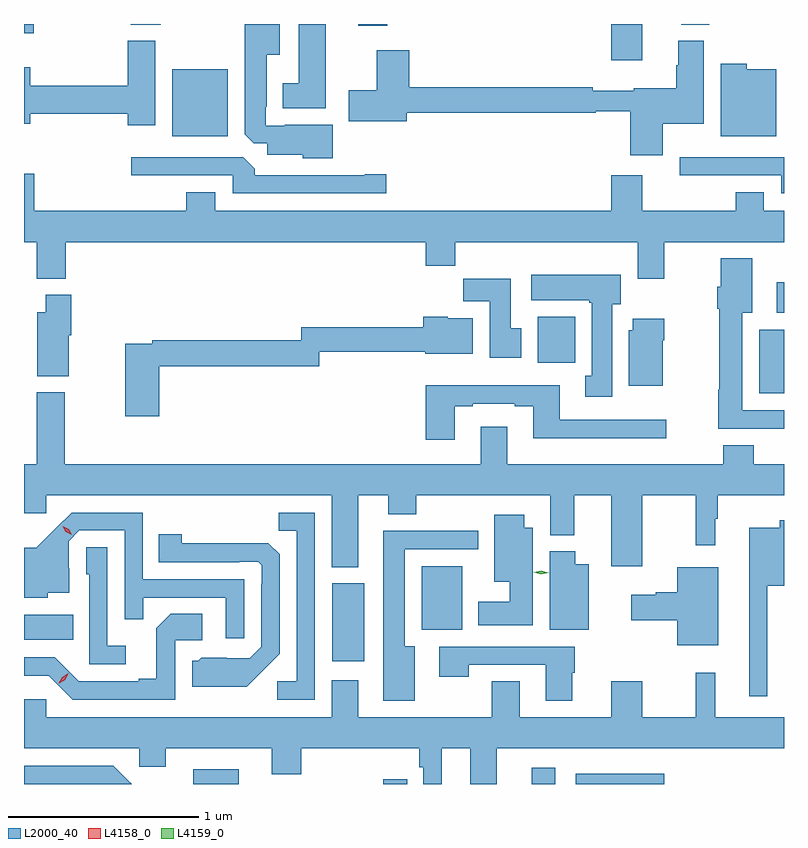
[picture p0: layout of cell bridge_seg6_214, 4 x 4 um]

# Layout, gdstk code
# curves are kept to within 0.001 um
import gdstk
lib = gdstk.Library(unit=1e-6, precision=1e-09)
def R(c, l, rs):  # rectangles x0, y0, x1, y1
    for r in rs: c.add(gdstk.rectangle(r[:2], r[2:], *l))
def P(c, l, *ps):  # polygons
    for p in ps: c.add(gdstk.Polygon(p, *l))
L2000_40 = (2000, 40)
L4158_0 = (4158, 0)
L4159_0 = (4159, 0)

bridge_seg6_214 = lib.new_cell('bridge_seg6_214')
R(bridge_seg6_214, L2000_40, [(126.846,976.452,127.084,976.53), (127.845,976.452,127.97,976.477), (128.627,976.452,128.749,976.537), (128.858,976.452,129.325,976.507), (127.577,977.097,127.744,977.509), (125.954,977.21,126.212,977.344), (128.048,977.264,128.26,977.599), (129.824,978.509,129.954,978.844), (128.657,978.668,128.854,978.91), (129.915,978.933,129.954,979.093), (126.734,979.862,127.027,980.215), (129.044,980.262,129.208,980.452), (125.954,980.403,126.004,980.452), (127.712,980.442,127.865,980.452), (126.515,980.449,126.675,980.452), (129.413,980.449,129.561,980.452)])
P(bridge_seg6_214, L2000_40, [(127.543,980.452),(127.4,980.452),(127.4,980.14),(127.316,980.14),(127.316,980.009),(127.543,980.009)],
  [(127.579,979.921),(127.327,979.921),(127.327,979.917),(127.227,979.917),(127.227,980.017),(127.231,980.017),(127.231,980.291),(127.3,980.291),(127.3,980.452),(127.115,980.452),(127.115,979.873),(127.164,979.824),(127.235,979.824),(127.235,979.763),(127.422,979.763),(127.422,979.745),(127.579,979.745)],
  [(126.646,980.364),(126.5,980.364),(126.5,980.126),(125.986,980.126),(125.986,980.224),(125.954,980.224),(125.954,979.928),(125.986,979.928),(125.986,979.979),(126.5,979.979),(126.5,979.92),(126.646,979.92)],
  [(129.316,979.928),(129.532,979.928),(129.532,980.364),(129.398,980.364),(129.398,980.234),(129.386,980.234),(129.386,980.113),(129.162,980.113),(129.162,980.101),(128.948,980.101),(128.948,980.12),(127.982,980.12),(127.982,980.314),(127.811,980.314),(127.811,980.103),(127.662,980.103),(127.662,979.94),(127.969,979.94),(127.969,979.984),(128.962,979.984),(128.962,979.992),(129.146,979.992),(129.146,979.761),(129.316,979.761)],
  [(129.913,980.215),(129.759,980.215),(129.759,980.242),(129.62,980.242),(129.62,979.862),(129.913,979.862)],
  [(129.954,979.752),(129.405,979.752),(129.405,979.656),(129.939,979.656),(129.939,979.56),(129.954,979.56)],
  [(127.861,979.661),(127.748,979.661),(127.748,979.656),(127.169,979.656),(127.169,979.69),(127.107,979.752),(126.519,979.752),(126.519,979.656),(127.053,979.656),(127.053,979.56),(127.861,979.56)],
  [(129.325,979.304),(129.954,979.304),(129.954,979.468),(129.847,979.468),(129.847,979.567),(129.7,979.567),(129.7,979.468),(129.208,979.468),(129.208,979.657),(129.044,979.657),(129.044,979.468),(126.961,979.468),(126.961,979.567),(126.809,979.567),(126.809,979.468),(126.008,979.468),(126.008,979.663),(125.954,979.663),(125.954,979.304),(126.02,979.304),(126.02,979.112),(126.173,979.112),(126.173,979.304),(128.069,979.304),(128.069,979.18),(128.225,979.18),(128.225,979.304),(129.185,979.304),(129.185,979.11),(129.325,979.11)],
  [(129.954,978.42),(129.733,978.42),(129.733,978.932),(129.787,978.932),(129.787,979.219),(129.62,979.219),(129.62,979.068),(129.602,979.068),(129.602,978.954),(129.613,978.954),(129.613,978.527),(129.608,978.527),(129.608,978.323),(129.954,978.323)],
  [(129.049,978.978),(129.094,978.978),(129.094,979.132),(128.625,979.132),(128.625,978.998),(128.929,978.998),(128.929,978.985),(128.942,978.985),(128.942,978.602),(128.909,978.602),(128.909,978.489),(129.049,978.489)],
  [(128.572,978.852),(128.515,978.852),(128.515,979.111),(128.266,979.111),(128.266,978.992),(128.405,978.992),(128.405,978.696),(128.572,978.696)],
  [(126.19,978.813),(126.203,978.813),(126.203,979.027),(126.068,979.027),(126.068,978.934),(126.023,978.934),(126.023,978.599),(126.19,978.599)],
  [(126.665,978.652),(127.509,978.652),(127.509,978.727),(128.066,978.727),(128.066,978.716),(128.317,978.716),(128.317,978.904),(128.184,978.904),(128.184,978.91),(128.054,978.91),(128.054,978.856),(127.413,978.856),(127.413,978.788),(126.628,978.788),(126.628,978.768),(126.487,978.768),(126.487,978.387),(126.665,978.387)],
  [(129.316,978.788),(129.324,978.788),(129.324,978.901),(129.158,978.901),(129.158,978.84),(129.137,978.84),(129.137,978.548),(129.316,978.548)],
  [(128.221,978.441),(128.317,978.441),(128.317,978.453),(128.537,978.453),(128.537,978.441),(128.633,978.441),(128.633,978.272),(129.334,978.272),(129.334,978.369),(128.773,978.369),(128.773,978.55),(128.069,978.55),(128.069,978.264),(128.221,978.264)],
  [(127.714,977.972),(127.871,977.972),(127.871,977.873),(128.019,977.873),(128.019,977.972),(128.723,977.972),(128.723,977.761),(128.851,977.761),(128.851,977.972),(129.044,977.972),(129.044,977.598),(129.208,977.598),(129.208,977.972),(129.49,977.972),(129.49,977.709),(129.592,977.709),(129.592,977.849),(129.604,977.849),(129.604,977.972),(129.954,977.972),(129.954,978.136),(129.795,978.136),(129.795,978.235),(129.635,978.235),(129.635,978.136),(128.497,978.136),(128.497,978.331),(128.357,978.331),(128.357,978.136),(126.168,978.136),(126.168,978.514),(126.02,978.514),(126.02,978.136),(125.954,978.136),(125.954,977.877),(126.072,977.877),(126.072,977.972),(127.574,977.972),(127.574,977.594),(127.714,977.594)],
  [(127.113,977.529),(126.579,977.529),(126.579,977.88),(126.206,977.88),(126.019,977.695),(125.954,977.695),(125.954,977.432),(126.078,977.432),(126.078,977.459),(126.193,977.459),(126.193,977.588),(126.189,977.588),(126.189,977.73),(126.246,977.787),(126.483,977.787),(126.483,977.32),(126.581,977.32),(126.581,977.433),(127.017,977.433),(127.017,977.22),(127.113,977.22)],
  [(127.485,977.88),(127.294,977.88),(127.294,977.785),(127.389,977.785),(127.389,976.992),(127.287,976.992),(127.287,976.896),(127.485,976.896)],
  [(128.632,977.8),(128.587,977.8),(128.587,977.869),(128.429,977.869),(128.429,977.516),(128.51,977.516),(128.51,977.41),(128.345,977.41),(128.345,977.288),(128.632,977.288)],
  [(129.867,977.495),(129.954,977.495),(129.954,977.839),(129.932,977.839),(129.932,977.8),(129.77,977.8),(129.77,976.914),(129.867,976.914)],
  [(128.011,977.176),(127.957,977.176),(127.957,977.688),(128.344,977.688),(128.344,977.786),(127.844,977.786),(127.844,976.89),(128.011,976.89)],
  [(127.207,977.045),(127.299,977.138),(127.299,977.66),(127.24,977.719),(126.783,977.72),(126.783,977.767),(126.664,977.767),(126.664,977.619),(127.088,977.619),(127.088,977.622),(127.188,977.622),(127.206,977.604),(127.206,977.504),(127.203,977.504),(127.203,977.175),(127.143,977.115),(126.886,977.116),(126.87,977.1),(126.839,977.1),(126.839,976.964),(127.127,976.964)],
  [(126.49,977.179),(126.393,977.179),(126.393,977.699),(126.282,977.699),(126.282,977.556),(126.297,977.556),(126.297,977.082),(126.49,977.082)],
  [(128.926,977.608),(128.854,977.608),(128.854,977.676),(128.72,977.676),(128.72,977.264),(128.926,977.264)],
  [(129.607,977.593),(129.392,977.593),(129.392,977.462),(129.279,977.462),(129.279,977.449),(129.15,977.449),(129.15,977.315),(129.392,977.315),(129.392,977.183),(129.607,977.183)],
  [(126.75,977.208),(126.892,977.208),(126.892,977.348),(126.727,977.348),(126.651,977.272),(126.651,977.005),(126.557,977.005),(126.557,976.992),(126.243,976.992),(126.117,977.118),(125.954,977.118),(125.954,977.022),(126.084,977.022),(126.21,976.896),(126.75,976.896)],
  [(128.839,977.037),(128.852,977.037),(128.852,977.175),(128.139,977.175),(128.139,977.016),(128.295,977.016),(128.295,977.079),(128.699,977.079),(128.699,976.89),(128.839,976.89)],
  [(128.152,976.64),(128.303,976.64),(128.303,976.452),(128.443,976.452),(128.443,976.64),(129.954,976.64),(129.954,976.804),(129.593,976.804),(129.593,977.038),(129.49,977.038),(129.49,976.804),(129.208,976.804),(129.208,976.993),(129.044,976.993),(129.044,976.804),(128.563,976.804),(128.563,976.994),(128.416,976.994),(128.416,976.804),(127.714,976.804),(127.714,976.999),(127.574,976.999),(127.574,976.804),(126.072,976.804),(126.072,976.897),(125.954,976.897),(125.954,976.64),(126.561,976.64),(126.561,976.542),(126.7,976.542),(126.7,976.64),(127.259,976.64),(127.259,976.504),(127.412,976.504),(127.412,976.64),(128.035,976.64),(128.035,976.539),(128.055,976.539),(128.055,976.452),(128.152,976.452)],
  [(126.516,976.458),(126.515,976.457),(126.424,976.548),(125.954,976.548),(125.954,976.452),(126.522,976.452)])
P(bridge_seg6_214, L4158_0, [(126.206,977.764),(126.175,977.779),(126.158,977.808),(126.158,977.808),(126.158,977.808),(126.189,977.793),(126.206,977.764),(126.206,977.764)],
  [(126.138,976.982),(126.138,976.982),(126.156,977.015),(126.187,977.034),(126.187,977.034),(126.187,977.034),(126.17,977.001),(126.139,976.982)])
P(bridge_seg6_214, L4159_0, [(128.675,977.555),(128.636,977.566),(128.636,977.566),(128.636,977.566),(128.676,977.575),(128.716,977.564),(128.716,977.564),(128.716,977.564)])

lib.write_gds('bridge_seg6_214.gds')
